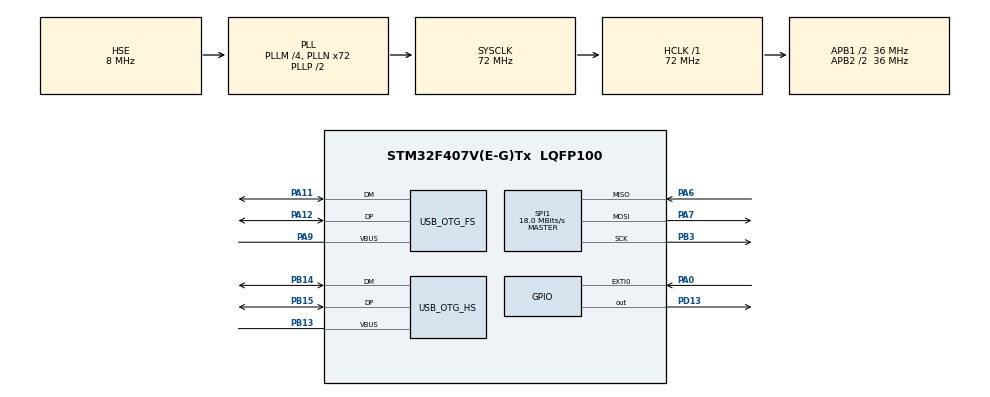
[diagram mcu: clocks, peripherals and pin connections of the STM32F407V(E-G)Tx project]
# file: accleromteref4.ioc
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Mcu.Family=STM32F4
Mcu.Name=STM32F407V(E-G)Tx
Mcu.Package=LQFP100
NVIC.EXTI0_IRQn=true\:0\:0\:false\:false\:true\:true\:true\:true
NVIC.OTG_FS_IRQn=true\:0\:0\:false\:false\:true\:false\:true\:true
NVIC.PriorityGroup=NVIC_PRIORITYGROUP_0
PA0-WKUP.GPIO_ModeDefaultEXTI=GPIO_MODE_IT_FALLING
PA0-WKUP.GPIO_PuPd=GPIO_PULLDOWN
PA0-WKUP.Signal=GPXTI0
PA11.Mode=Device_Only
PA11.Signal=USB_OTG_FS_DM
PA12.Mode=Device_Only
PA12.Signal=USB_OTG_FS_DP
PA13.Mode=Serial_Wire
PA13.Signal=SYS_JTMS-SWDIO
PA14.Mode=Serial_Wire
PA14.Signal=SYS_JTCK-SWCLK
PA6.Mode=Full_Duplex_Master
PA6.Signal=SPI1_MISO
PA7.Mode=Full_Duplex_Master
PA7.Signal=SPI1_MOSI
PA9.Mode=Activate_VBUS
PA9.Signal=USB_OTG_FS_VBUS
PB13.Mode=Activate_VBUS_FS
PB13.Signal=USB_OTG_HS_VBUS
PB14.Mode=Device_Only_FS
PB14.Signal=USB_OTG_HS_DM
PB15.Mode=Device_Only_FS
PB15.Signal=USB_OTG_HS_DP
PB3.Mode=Full_Duplex_Master
PB3.Signal=SPI1_SCK
PD13.Signal=GPIO_Output
PH0-OSC_IN.Mode=HSE-External-Oscillator
PH0-OSC_IN.Signal=RCC_OSC_IN
PH1-OSC_OUT.Mode=HSE-External-Oscillator
PH1-OSC_OUT.Signal=RCC_OSC_OUT
ProjectManager.HeapSize=0x200
ProjectManager.StackSize=0x400
ProjectManager.TargetToolchain=STM32CubeIDE
RCC.48MHZClocksFreq_Value=48000000
RCC.AHBFreq_Value=72000000
RCC.APB1CLKDivider=RCC_HCLK_DIV2
RCC.APB1Freq_Value=36000000
RCC.APB1TimFreq_Value=72000000
RCC.APB2CLKDivider=RCC_HCLK_DIV2
RCC.APB2Freq_Value=36000000
RCC.APB2TimFreq_Value=72000000
RCC.CortexFreq_Value=72000000
RCC.HCLKFreq_Value=72000000
RCC.HSE_VALUE=8000000
RCC.HSI_VALUE=16000000
RCC.LSE_VALUE=32768
RCC.PLLM=4
RCC.PLLN=72
RCC.PLLQ=3
RCC.SYSCLKFreq_VALUE=72000000
RCC.SYSCLKSource=RCC_SYSCLKSOURCE_PLLCLK
RCC.VCOOutputFreq_Value=144000000
SPI1.CalculateBaudRate=18.0 MBits/s
SPI1.Direction=SPI_DIRECTION_2LINES
SPI1.Mode=SPI_MODE_MASTER
SPI1.VirtualType=VM_MASTER
USB_DEVICE.CLASS_NAME_FS=HID
USB_DEVICE.PRODUCT_STRING_HID_FS=STM32F407 mouse
USB_DEVICE.VirtualMode-HID_FS=Hid
USB_DEVICE.VirtualModeFS=Hid_FS
USB_OTG_FS.VirtualMode=Device_Only
USB_OTG_HS.VirtualMode-Device_Only_FS=Device_Only_FS
VP_USB_DEVICE_VS_USB_DEVICE_HID_FS.Mode=HID_FS
board=STM32F407G-DISC1

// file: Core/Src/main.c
/* USER CODE BEGIN Header */
/**
  ******************************************************************************
  * @file           : main.c
  * @brief          : Main program body
  ******************************************************************************
  * @attention
  *
  * Copyright (c) 2024 STMicroelectronics.
  * All rights reserved.
  *
  * This software is licensed under terms that can be found in the LICENSE file
  * in the root directory of this software component.
  * If no LICENSE file comes with this software, it is provided AS-IS.
  *
  ******************************************************************************
  */
/* USER CODE END Header */
#include "main.h"
#include "usb_device.h"

/* USER CODE BEGIN Includes */
#include"stm32f4_discovery_accelerometer.h"
#include"usbd_hid.h"
/* USER CODE END Includes */

/* USER CODE BEGIN PTD */
extern USBD_HandleTypeDef hUsbDeviceFS;
typedef struct
{
	uint8_t button;
	int8_t mouse_x;
	int8_t mouse_y;
	int8_t wheel;
} mouseHID;

mouseHID mousehid = {0,0,0,0};
/* USER CODE END PTD */

/* USER CODE BEGIN PD */
int16_t min_xval = 128;
int16_t max_xval = -128;
int16_t min_yval = 128;
int16_t max_yval = -128;
int16_t x,y,z;
int16_t newxval = 0;
int16_t newyval = 0;

uint8_t button_flag=0;

/* USER CODE END PD */

SPI_HandleTypeDef hspi1;

PCD_HandleTypeDef hpcd_USB_OTG_HS;

/* USER CODE BEGIN PV */
int16_t pDataXYZ[3];
void ACCELRO_Calibrate (void)
{ HAL_GPIO_WritePin(GPIOD, GPIO_PIN_13, 1);
	for (int i=0; i<50; i++)
	{
		BSP_ACCELERO_GetXYZ(pDataXYZ);
		x =pDataXYZ[0] ;
		y = pDataXYZ[1];
		z = pDataXYZ[2];
		min_xval = MIN(min_xval, x);
		max_xval = MAX(max_xval, x);
		min_yval = MIN(min_yval, y);
		max_yval = MAX(max_yval, y);
		HAL_Delay (100);
	}

	/* Turn On the LED to show the completion of calibration */
	HAL_GPIO_WritePin(GPIOD, GPIO_PIN_13, 0);
}

void HAL_GPIO_EXTI_Callback(uint16_t GPIO_Pin)
{
	if (GPIO_Pin == GPIO_PIN_0)
	{
		button_flag = 1;
	}
}
/* USER CODE END PV */

void SystemClock_Config(void);
static void MX_GPIO_Init(void);
static void MX_SPI1_Init(void);
static void MX_USB_OTG_HS_PCD_Init(void);

int main(void)
{

  /* MCU Configuration--------------------------------------------------------*/

  /* Reset of all peripherals, Initializes the Flash interface and the Systick. */
  HAL_Init();

  /* Configure the system clock */
  SystemClock_Config();

  /* Initialize all configured peripherals */
  MX_GPIO_Init();
  MX_SPI1_Init();
  MX_USB_OTG_HS_PCD_Init();
  MX_USB_DEVICE_Init();
  /* USER CODE BEGIN 2 */
  BSP_ACCELERO_Init();
  ACCELRO_Calibrate ();
  /* USER CODE END 2 */

  /* Infinite loop */
  while (1)
   {

    /* USER CODE BEGIN 3 */
	  BSP_ACCELERO_GetXYZ(pDataXYZ);
	  		x =pDataXYZ[0] ;
	  		y = pDataXYZ[1];
	  		z = pDataXYZ[2];

	  	  if (x < min_xval) newxval = x - min_xval;
	  	  if (x > max_xval) newxval = x - max_xval;
	  	  if (y < min_yval) newyval = y - min_yval;
	  	  if (y > max_yval) newyval = y - max_yval;

	  	  if ((newxval > 20) || (newxval < -20))
	  	  {
	  		  mousehid.mouse_y = newxval/12;
	  	  }

	  	  else mousehid.mouse_y = 0;

	  	  if ((newyval > 20) || (newyval < -20))
	  	  {
	  		  mousehid.mouse_x = newyval/12;
	  	  }

	  	  else mousehid.mouse_x = 0;

 	  if (button_flag == 1)
 	  {
 		  mousehid.button = 1;  // left click =1, right click =2
 		  USBD_HID_SendReport(&hUsbDeviceFS, &mousehid, sizeof (mousehid));
 		  HAL_Delay(50);
 		  mousehid.button = 0;  // left click =1, right click =2
 		  USBD_HID_SendReport(&hUsbDeviceFS, &mousehid, sizeof (mousehid));
 		  button_flag = 0;
 	  }

 	  USBD_HID_SendReport(&hUsbDeviceFS, &mousehid, sizeof (mousehid));

 	  HAL_Delay(70);
   }
  /* USER CODE END 3 */
}

void SystemClock_Config(void)
{
  RCC_OscInitTypeDef RCC_OscInitStruct = {0};
  RCC_ClkInitTypeDef RCC_ClkInitStruct = {0};

  /** Configure the main internal regulator output voltage
  */
  __HAL_RCC_PWR_CLK_ENABLE();
  __HAL_PWR_VOLTAGESCALING_CONFIG(PWR_REGULATOR_VOLTAGE_SCALE1);

  /** Initializes the RCC Oscillators according to the specified parameters
  * in the RCC_OscInitTypeDef structure.
  */
  RCC_OscInitStruct.OscillatorType = RCC_OSCILLATORTYPE_HSE;
  RCC_OscInitStruct.HSEState = RCC_HSE_ON;
  RCC_OscInitStruct.PLL.PLLState = RCC_PLL_ON;
  RCC_OscInitStruct.PLL.PLLSource = RCC_PLLSOURCE_HSE;
  RCC_OscInitStruct.PLL.PLLM = 4;
  RCC_OscInitStruct.PLL.PLLN = 72;
  RCC_OscInitStruct.PLL.PLLP = RCC_PLLP_DIV2;
  RCC_OscInitStruct.PLL.PLLQ = 3;
  if (HAL_RCC_OscConfig(&RCC_OscInitStruct) != HAL_OK)
  {
    Error_Handler();
  }

  /** Initializes the CPU, AHB and APB buses clocks
  */
  RCC_ClkInitStruct.ClockType = RCC_CLOCKTYPE_HCLK|RCC_CLOCKTYPE_SYSCLK
                              |RCC_CLOCKTYPE_PCLK1|RCC_CLOCKTYPE_PCLK2;
  RCC_ClkInitStruct.SYSCLKSource = RCC_SYSCLKSOURCE_PLLCLK;
  RCC_ClkInitStruct.AHBCLKDivider = RCC_SYSCLK_DIV1;
  RCC_ClkInitStruct.APB1CLKDivider = RCC_HCLK_DIV2;
  RCC_ClkInitStruct.APB2CLKDivider = RCC_HCLK_DIV2;

  if (HAL_RCC_ClockConfig(&RCC_ClkInitStruct, FLASH_LATENCY_2) != HAL_OK)
  {
    Error_Handler();
  }
}

static void MX_SPI1_Init(void)
{

  /* SPI1 parameter configuration*/
  hspi1.Instance = SPI1;
  hspi1.Init.Mode = SPI_MODE_MASTER;
  hspi1.Init.Direction = SPI_DIRECTION_2LINES;
  hspi1.Init.DataSize = SPI_DATASIZE_8BIT;
  hspi1.Init.CLKPolarity = SPI_POLARITY_LOW;
  hspi1.Init.CLKPhase = SPI_PHASE_1EDGE;
  hspi1.Init.NSS = SPI_NSS_SOFT;
  hspi1.Init.BaudRatePrescaler = SPI_BAUDRATEPRESCALER_2;
  hspi1.Init.FirstBit = SPI_FIRSTBIT_MSB;
  hspi1.Init.TIMode = SPI_TIMODE_DISABLE;
  hspi1.Init.CRCCalculation = SPI_CRCCALCULATION_DISABLE;
  hspi1.Init.CRCPolynomial = 10;
  if (HAL_SPI_Init(&hspi1) != HAL_OK)
  {
    Error_Handler();
  }

}

static void MX_USB_OTG_HS_PCD_Init(void)
{

  hpcd_USB_OTG_HS.Instance = USB_OTG_HS;
  hpcd_USB_OTG_HS.Init.dev_endpoints = 6;
  hpcd_USB_OTG_HS.Init.speed = PCD_SPEED_FULL;
  hpcd_USB_OTG_HS.Init.dma_enable = DISABLE;
  hpcd_USB_OTG_HS.Init.phy_itface = USB_OTG_EMBEDDED_PHY;
  hpcd_USB_OTG_HS.Init.Sof_enable = DISABLE;
  hpcd_USB_OTG_HS.Init.low_power_enable = DISABLE;
  hpcd_USB_OTG_HS.Init.lpm_enable = DISABLE;
  hpcd_USB_OTG_HS.Init.vbus_sensing_enable = ENABLE;
  hpcd_USB_OTG_HS.Init.use_dedicated_ep1 = DISABLE;
  hpcd_USB_OTG_HS.Init.use_external_vbus = DISABLE;
  if (HAL_PCD_Init(&hpcd_USB_OTG_HS) != HAL_OK)
  {
    Error_Handler();
  }

}

static void MX_GPIO_Init(void)
{
  GPIO_InitTypeDef GPIO_InitStruct = {0};

  /* GPIO Ports Clock Enable */
  __HAL_RCC_GPIOH_CLK_ENABLE();
  __HAL_RCC_GPIOA_CLK_ENABLE();
  __HAL_RCC_GPIOB_CLK_ENABLE();
  __HAL_RCC_GPIOD_CLK_ENABLE();

  /*Configure GPIO pin Output Level */
  HAL_GPIO_WritePin(GPIOD, GPIO_PIN_13, GPIO_PIN_RESET);

  /*Configure GPIO pin : PA0 */
  GPIO_InitStruct.Pin = GPIO_PIN_0;
  GPIO_InitStruct.Mode = GPIO_MODE_IT_FALLING;
  GPIO_InitStruct.Pull = GPIO_PULLDOWN;
  HAL_GPIO_Init(GPIOA, &GPIO_InitStruct);

  /*Configure GPIO pin : PD13 */
  GPIO_InitStruct.Pin = GPIO_PIN_13;
  GPIO_InitStruct.Mode = GPIO_MODE_OUTPUT_PP;
  GPIO_InitStruct.Pull = GPIO_NOPULL;
  GPIO_InitStruct.Speed = GPIO_SPEED_FREQ_LOW;
  HAL_GPIO_Init(GPIOD, &GPIO_InitStruct);

  /* EXTI interrupt init*/
  HAL_NVIC_SetPriority(EXTI0_IRQn, 0, 0);
  HAL_NVIC_EnableIRQ(EXTI0_IRQn);

}

void Error_Handler(void)
{
  __disable_irq();
  while (1)
  {
  }
}
